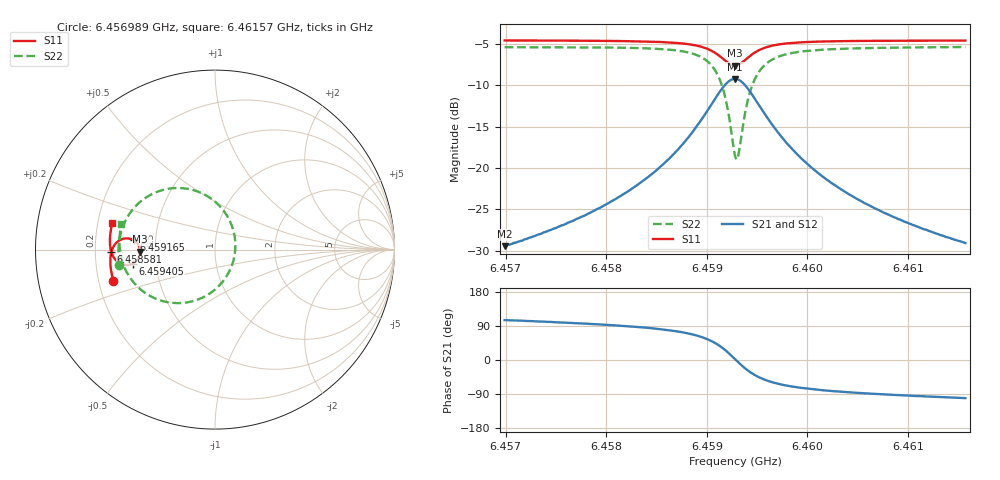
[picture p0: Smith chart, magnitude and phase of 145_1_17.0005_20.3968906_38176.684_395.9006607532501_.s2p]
#  HZ  S  RI  R  50.00
! Rohde & Schwarz Vector Network Analyzer
! Rohde-Schwarz,ZNB20-2Port,1311601062101988,3.16
! Created: UTC 3/20/2024, 10:58:36 PM
! freq[Hz]  re:S11  im:S11  re:S21  im:S21  re:S12  im:S12  re:S22  im:S22
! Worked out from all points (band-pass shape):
!   401 points, 6.456989 GHz to 6.46157 GHz, reference 50 ohm
!   highest |S21| = -9.20 dB at 6.459279 GHz (marker M1); lowest = -29.4 dB at 6.456989 GHz (marker M2)
!   |S21| within 3 dB of the highest: 6.45905 GHz to 6.459508 GHz (458.4 kHz wide, 0.0071 % of centre)
!   lowest |S11| = -7.6 dB at 6.459279 GHz (marker M3), VSWR 2.43, Z = 20.6 - j0.571 ohm
!   |S11| at or under -10 dB: nowhere
!   |S22| runs from -18.9 to -5.3 dB; largest |S21 - S12| = 0.014
!   S11 on the Smith chart (normalised r, x): 6.456989 GHz: 0.26, -0.14; 6.458581 GHz: 0.27, -0.01; 6.459165 GHz: 0.37, +0.05; 6.459405 GHz: 0.37, -0.07; 6.46157 GHz: 0.26, +0.12
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6.4569887e9  -0.5664 -0.1724  -0.00882 0.0326  -0.00719 0.0326  -0.5323 -0.0847
6.457756e9  -0.5804 -0.1053  -0.00574 0.0506  -0.00308 0.05  -0.5378 0.00537
6.4581684e9  -0.5833 -0.0642  -1.39e-05 0.0695  0.00327 0.0682  -0.53 0.0704
6.4585234e9  -0.5796 -0.0216  0.0141 0.0992  0.0182 0.0964  -0.5042 0.1504
6.4585807e9  -0.5777 -0.0136  0.0185 0.1061  0.0225 0.103  -0.4959 0.1671
6.4587868e9  -0.5646 0.0185  0.0462 0.1387  0.0502 0.1337  -0.4443 0.2399
6.4589357e9  -0.542 0.0449  0.0915 0.1694  0.0947 0.1627  -0.3606 0.3044
6.4590732e9  -0.4979 0.0624  0.1792 0.186  0.1801 0.1787  -0.2009 0.3432
6.4591648e9  -0.4529 0.0522  0.2695 0.1547  0.2697 0.1488  -0.0339 0.2924
6.4592335e9  -0.4237 0.0198  0.3302 0.0823  0.3324 0.0772  0.0815 0.1623
6.4592793e9  -0.4167 -0.0115  0.3464 0.0141  0.3504 0.00728  0.1133 0.0349
6.4592908e9  -0.4173 -0.0196  0.3462 -0.00373  0.3502 -0.0112  0.113 0.00141
6.4593137e9  -0.4207 -0.0352  0.3406 -0.0387  0.3446 -0.0477  0.1018 -0.0647
6.4593595e9  -0.4364 -0.0615  0.312 -0.0985  0.3142 -0.1103  0.0437 -0.1776
6.4594053e9  -0.4586 -0.0779  0.2696 -0.1397  0.2689 -0.1527  -0.0416 -0.2524
6.4594969e9  -0.5022 -0.0848  0.1849 -0.1709  0.1787 -0.1823  -0.2106 -0.2983
6.4596458e9  -0.5462 -0.0645  0.0968 -0.1569  0.0883 -0.1631  -0.3781 -0.2488
6.4598062e9  -0.5681 -0.0368  0.0518 -0.129  0.0442 -0.1318  -0.4585 -0.1767
6.4600467e9  -0.5809 -0.00131  0.0226 -0.0973  0.0167 -0.098  -0.5065 -0.0944
6.4603788e9  -0.5854 0.0385  0.00687 -0.0712  0.00259 -0.0708  -0.5277 -0.0176
6.460814e9  -0.5838 0.0824  -0.00136 -0.052  -0.00419 -0.0511  -0.5325 0.0526
6.46157e9  -0.5719 0.1494  -0.00647 -0.0346  -0.00804 -0.0338  -0.5214 0.1422
